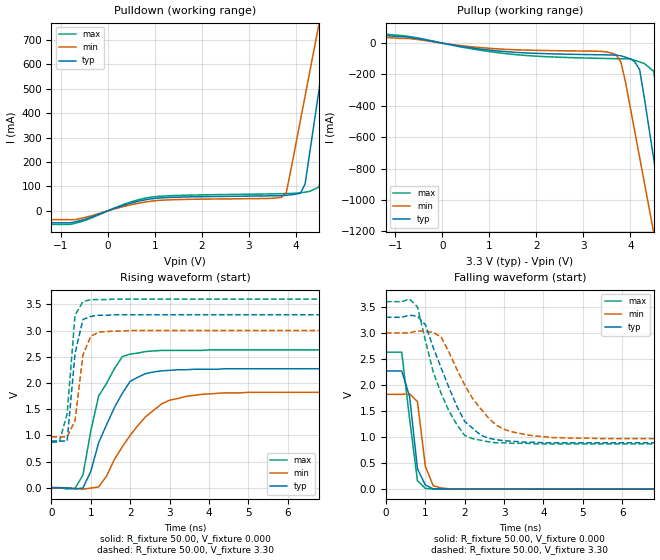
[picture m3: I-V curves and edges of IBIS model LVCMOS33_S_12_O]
| [Disclaimer]
| Copyright 2006, Xilinx Inc., All rights reserved
| [Copyright]
| From P1.ibs, Spartan-3E, Xilinx Inc.
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|   Model LVCMOS33_S_12_O
[Model]   LVCMOS33_S_12_O
Model_type   Output
Polarity   Non-Inverting
Enable   Active-Low
Vmeas =   1.65V
Cref =  0.000F
Rref =  1MOhm
Vref =  0.000V
C_comp   1.50pF   1.30pF   1.70pF
[Temperature Range]   25.00   85.00   0.000
[Voltage Range]   3.30V   3.00V   3.60V
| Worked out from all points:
|   slope of the pulldown table from 0 to 0.495 V, typ, clamps not added: 15.7 ohm
|   slope of the pullup table from 0 to 0.495 V, typ, clamps not added: 19.8 ohm
|   rising waveform, R_fixture 50.00, V_fixture 0.000: 20-80 % time 762ps typ, 1.07ns min, 613ps max; typ from 0 V to 2.27 V
|   rising waveform, R_fixture 50.00, V_fixture 3.30: 20-80 % time 222ps typ, 220ps min, 174ps max; typ from 0.89 V to 3.3 V
|   falling waveform, R_fixture 50.00, V_fixture 0.000: 20-80 % time 205ps typ, 204ps min, 256ps max; typ from 2.27 V to 0 V
|   falling waveform, R_fixture 50.00, V_fixture 3.30: 20-80 % time 795ps typ, 972ps min, 725ps max; typ from 3.3 V to 0.89 V
[Pulldown]
| voltage   I(typ)   I(min)   I(max)
-3.3V     -49.04mA   -35.96mA   -55.68mA
-800mV    -49.04mA   -35.96mA   -55.68mA
3.7V      62.51mA    55.72mA    70.29mA
3.8V      63.73mA    74.61mA    70.77mA
4.1V      72.01mA    370mA      73.96mA
4.2V      110mA      470mA      76.57mA
4.3V      240mA      570mA      79.79mA
4.5V      500mA      770mA      98.41mA
4.7V      750mA      970mA      380mA
4.9V      1.01A      1.17A      670mA
5.1V      1.27A      1.38A      970mA
6.6V      3.24A      2.91A      3.21A
[Pullup]
| voltage   I(typ)   I(min)   I(max)
-3.3V     72mA       58mA       85mA
1.6V      -59.48mA   -42.64mA   -74.17mA
3.7V      -76.7mA    -74.38mA   -99.17mA
3.8V      -81.18mA   -120mA     -99.75mA
4.1V      -120mA     -570mA     -110mA
4.2V      -170mA     -730mA     -120mA
4.3V      -350mA     -890mA     -130mA
4.5V      -740mA     -1.21A     -180mA
4.7V      -1.13A     -1.53A     -590mA
4.9V      -1.52A     -1.85A     -1.06A
5.1V      -1.91A     -2.17A     -1.53A
6.6V      -4.84A     -4.59A     -5.06A
[Ramp]
dV/dt_r   1.36/0.71n   1.09/1.07n   1.58/0.57n
dV/dt_f   1.45/0.72n   1.22/0.96n   1.64/0.67n
R_load = 50.00
[Rising Waveform]
R_fixture = 50.00
V_fixture = 0.000
| time   V(typ)   V(min)   V(max)
0s        0V         0V         0V
600ps     -25.15mV   -14.58mV   -11.55mV
800ps     -5.86mV    -27.96mV   240mV
1ns       310mV      -7.87mV    1.08V
1.2ns     860mV      14.75mV    1.75V
1.8ns     1.8V       780mV      2.5V
2ns       2.03V      1V         2.55V
2.4ns     2.18V      1.36V      2.6V
3.4ns     2.25V      1.74V      2.62V
10ns      2.27V      1.82V      2.63V
[Rising Waveform]
R_fixture = 50.00
V_fixture = 3.30
V_fixture_min = 3.00
V_fixture_max = 3.60
| time   V(typ)   V(min)   V(max)
0s        890mV      970mV      870mV
200ps     890mV      970mV      870mV
400ps     890mV      970mV      1.41V
600ps     2.56V      1.28V      3.29V
800ps     3.21V      2.53V      3.55V
1ns       3.27V      2.89V      3.59V
1.2ns     3.29V      2.97V      3.59V
2ns       3.3V       3V         3.6V
10ns      3.3V       3V         3.6V
[Falling Waveform]
R_fixture = 50.00
V_fixture = 0.000
| time   V(typ)   V(min)   V(max)
0s        2.27V      1.82V      2.63V
400ps     2.27V      1.82V      2.63V
600ps     1.78V      1.83V      1.35V
800ps     390mV      1.68V      160mV
1ns       80.57mV    440mV      15.63mV
1.2ns     6.55mV     65.27mV    3.11mV
1.4ns     3.87mV     23.5mV     2.49mV
1.6ns     2.4mV      6.83mV     1.68mV
10ns      11.95uV    11.66uV    27.52uV
[Falling Waveform]
R_fixture = 50.00
V_fixture = 3.30
V_fixture_min = 3.00
V_fixture_max = 3.60
| time   V(typ)   V(min)   V(max)
0s        3.3V       3V         3.6V
600ps     3.34V      3V         3.65V
800ps     3.32V      3.04V      3.5V
1ns       3.16V      3.03V      2.86V
1.4ns     2.33V      2.92V      1.84V
1.8ns     1.59V      2.3V       1.24V
2.2ns     1.17V      1.74V      970mV
2.8ns     950mV      1.23V      890mV
3.8ns     900mV      1.02V      870mV
10ns      890mV      970mV      870mV
